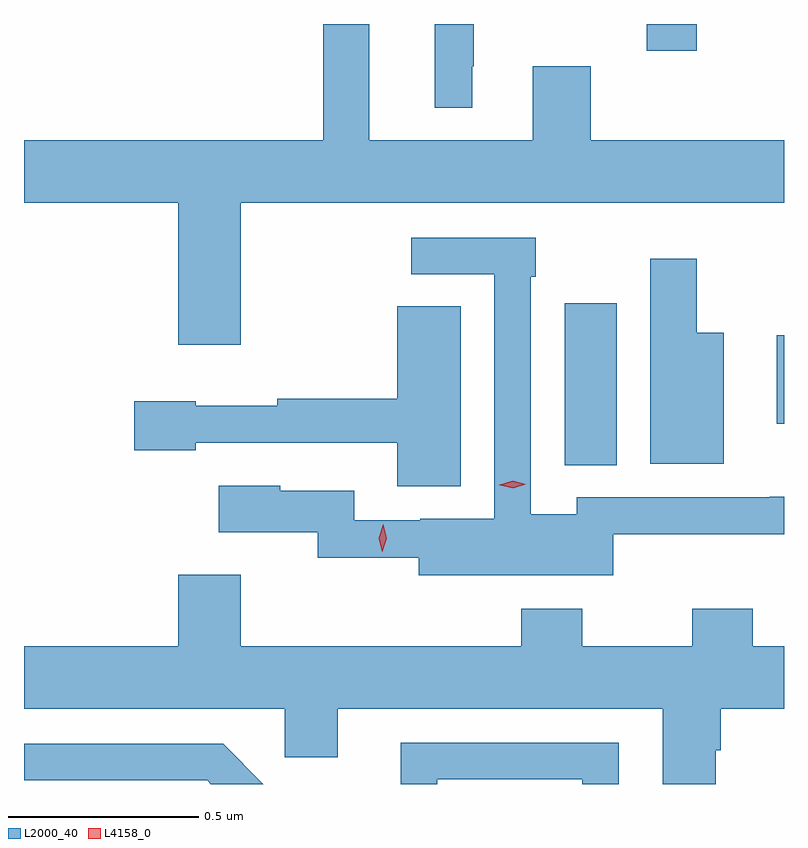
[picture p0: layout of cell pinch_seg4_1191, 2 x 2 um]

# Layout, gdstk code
import gdstk
lib = gdstk.Library(unit=1e-6, precision=1e-09)
def R(c, l, rs):  # rectangles x0, y0, x1, y1
    for r in rs: c.add(gdstk.rectangle(r[:2], r[2:], *l))
def P(c, l, *ps):  # polygons
    for p in ps: c.add(gdstk.Polygon(p, *l))
L2000_40 = (2000, 40)
L4158_0 = (4158, 0)

pinch_seg4_1191 = lib.new_cell('pinch_seg4_1191')
R(pinch_seg4_1191, L2000_40, [(417.773,772.153,417.91,772.579), (418.331,772.262,418.35,772.495), (417.989,773.244,418.121,773.314)])
P(pinch_seg4_1191, L2000_40, [(417.529,773.203),(417.533,773.203),(417.533,773.314),(417.431,773.314),(417.431,773.093),(417.529,773.093)],
  [(417.689,773.203),(417.689,773.008),(417.259,773.008),(417.259,773.314),(417.137,773.314),(417.137,773.008),(416.35,773.008),(416.35,772.844),(416.756,772.844),(416.756,772.47),(416.92,772.47),(416.92,772.844),(418.35,772.844),(418.35,773.008),(417.842,773.008),(417.842,773.203)],
  [(417.9,771.971),(418.35,771.971),(418.35,772.07),(418.313,772.07),(418.313,772.068),(417.804,772.068),(417.804,772.024),(417.684,772.024),(417.684,772.649),(417.697,772.649),(417.697,772.752),(417.369,772.752),(417.369,772.656),(417.588,772.656),(417.588,772.012),(417.393,772.012),(417.393,772.008),(417.219,772.008),(417.219,772.086),(417.024,772.086),(417.024,772.099),(416.862,772.099),(416.862,771.977),(417.123,771.977),(417.123,771.91),(417.389,771.91),(417.389,771.863),(417.9,771.863)],
  [(418.192,772.501),(418.12,772.501),(418.12,772.696),(417.998,772.696),(417.998,772.157),(418.192,772.157)],
  [(417.499,772.571),(417.332,772.571),(417.332,772.328),(417.016,772.328),(417.016,772.309),(416.802,772.309),(416.802,772.321),(416.64,772.321),(416.64,772.192),(416.802,772.192),(416.802,772.212),(417.332,772.212),(417.332,772.097),(417.499,772.097)],
  [(418.17,771.403),(418.184,771.403),(418.184,771.512),(418.35,771.512),(418.35,771.676),(418.268,771.676),(418.268,771.775),(418.108,771.775),(418.108,771.676),(417.819,771.676),(417.819,771.775),(417.659,771.775),(417.659,771.676),(416.92,771.676),(416.92,771.865),(416.756,771.865),(416.756,771.676),(416.35,771.676),(416.35,771.512),(417.036,771.512),(417.036,771.385),(417.175,771.385),(417.175,771.512),(418.031,771.512),(418.031,771.314),(418.17,771.314)],
  [(417.438,771.327),(417.819,771.327),(417.819,771.314),(417.915,771.314),(417.915,771.423),(417.341,771.423),(417.341,771.314),(417.438,771.314)],
  [(416.874,771.42),(416.35,771.42),(416.35,771.324),(416.832,771.324),(416.842,771.314),(416.98,771.314)])
P(pinch_seg4_1191, L4158_0, [(417.293,771.925),(417.293,771.925),(417.284,771.961),(417.295,771.997),(417.295,771.997),(417.296,771.997),(417.304,771.961),(417.293,771.925)],
  [(417.637,772.092),(417.602,772.1),(417.601,772.101),(417.602,772.101),(417.636,772.112),(417.671,772.103),(417.671,772.103),(417.671,772.103)])

lib.write_gds('pinch_seg4_1191.gds')
